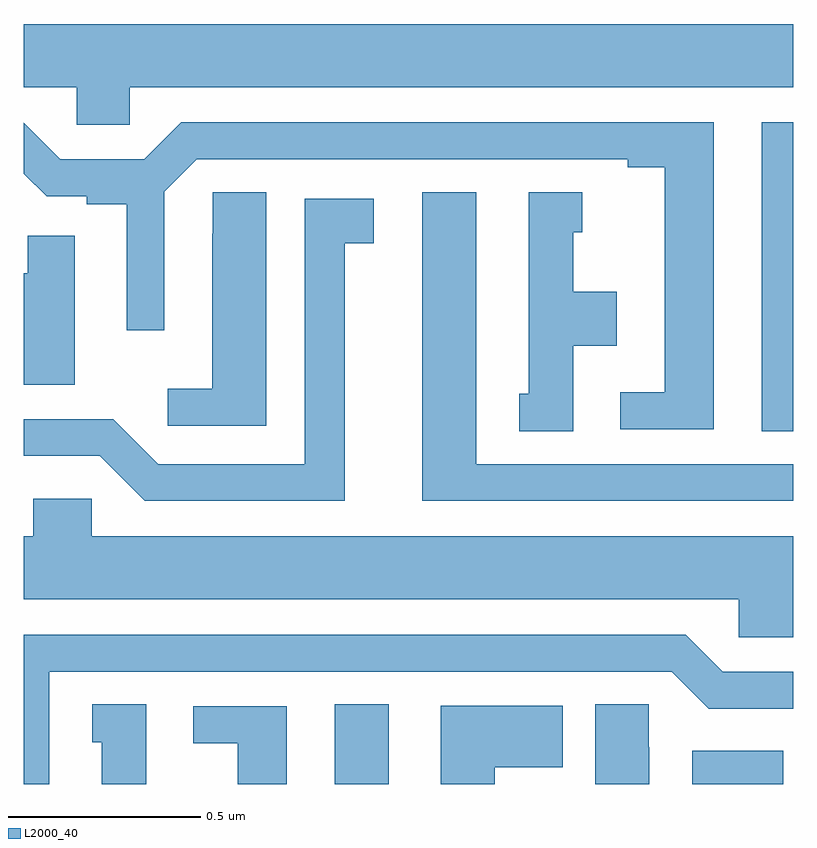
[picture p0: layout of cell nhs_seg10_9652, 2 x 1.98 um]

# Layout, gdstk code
import gdstk
lib = gdstk.Library(unit=1e-6, precision=1e-09)
def R(c, l, rs):  # rectangles x0, y0, x1, y1
    for r in rs: c.add(gdstk.rectangle(r[:2], r[2:], *l))
def P(c, l, *ps):  # polygons
    for p in ps: c.add(gdstk.Polygon(p, *l))
L2000_40 = (2000, 40)

nhs_seg10_9652 = lib.new_cell('nhs_seg10_9652')
R(nhs_seg10_9652, L2000_40, [(232.808,1302.5,232.948,1302.707), (233.738,1302.5,233.974,1302.586), (233.918,1303.417,234,1304.22)])
P(nhs_seg10_9652, L2000_40, [(232.275,1304.312),(234,1304.312),(234,1304.476),(232,1304.476),(232,1304.312),(232.137,1304.312),(232.137,1304.214),(232.275,1304.214)],
  [(233.794,1304.22),(232.409,1304.22),(232.313,1304.124),(232.095,1304.124),(232,1304.219),(232,1304.087),(232.059,1304.028),(232.164,1304.028),(232.164,1304.008),(232.268,1304.008),(232.268,1303.68),(232.365,1303.68),(232.365,1304.04),(232.449,1304.124),(233.57,1304.124),(233.57,1304.104),(233.666,1304.104),(233.666,1303.518),(233.55,1303.518),(233.55,1303.422),(233.794,1303.422)],
  [(232.63,1304.039),(232.491,1304.039),(232.491,1303.931),(232.49,1303.931),(232.49,1303.528),(232.374,1303.528),(232.374,1303.431),(232.63,1303.431)],
  [(234,1303.332),(233.176,1303.332),(233.176,1304.038),(233.036,1304.038),(233.036,1303.236),(234,1303.236)],
  [(233.428,1303.64),(233.542,1303.64),(233.542,1303.78),(233.428,1303.78),(233.428,1303.935),(233.452,1303.935),(233.452,1304.038),(233.312,1304.038),(233.312,1303.515),(233.288,1303.515),(233.288,1303.417),(233.428,1303.417)],
  [(232.834,1303.906),(232.909,1303.906),(232.909,1304.022),(232.73,1304.022),(232.73,1303.332),(232.35,1303.332),(232.233,1303.449),(232,1303.449),(232,1303.353),(232.197,1303.353),(232.314,1303.236),(232.834,1303.236)],
  [(232.132,1303.926),(232.01,1303.926),(232.01,1303.828),(232,1303.828),(232,1303.538),(232.132,1303.538)],
  [(234,1303.144),(232.176,1303.144),(232.176,1303.242),(232.025,1303.242),(232.025,1303.144),(232,1303.144),(232,1302.98),(233.859,1302.98),(233.859,1302.882),(234,1302.882)],
  [(232.066,1302.792),(233.685,1302.792),(233.781,1302.696),(234,1302.696),(234,1302.792),(233.817,1302.792),(233.721,1302.888),(232,1302.888),(232,1302.5),(232.066,1302.5)],
  [(233.626,1302.596),(233.625,1302.596),(233.625,1302.707),(233.486,1302.707),(233.486,1302.5),(233.626,1302.5)],
  [(232.318,1302.707),(232.178,1302.707),(232.178,1302.609),(232.202,1302.609),(232.202,1302.5),(232.318,1302.5)],
  [(233.224,1302.544),(233.401,1302.544),(233.401,1302.703),(233.084,1302.703),(233.084,1302.5),(233.224,1302.5)],
  [(232.684,1302.702),(232.44,1302.702),(232.44,1302.606),(232.556,1302.606),(232.556,1302.5),(232.684,1302.5)])

lib.write_gds('nhs_seg10_9652.gds')
